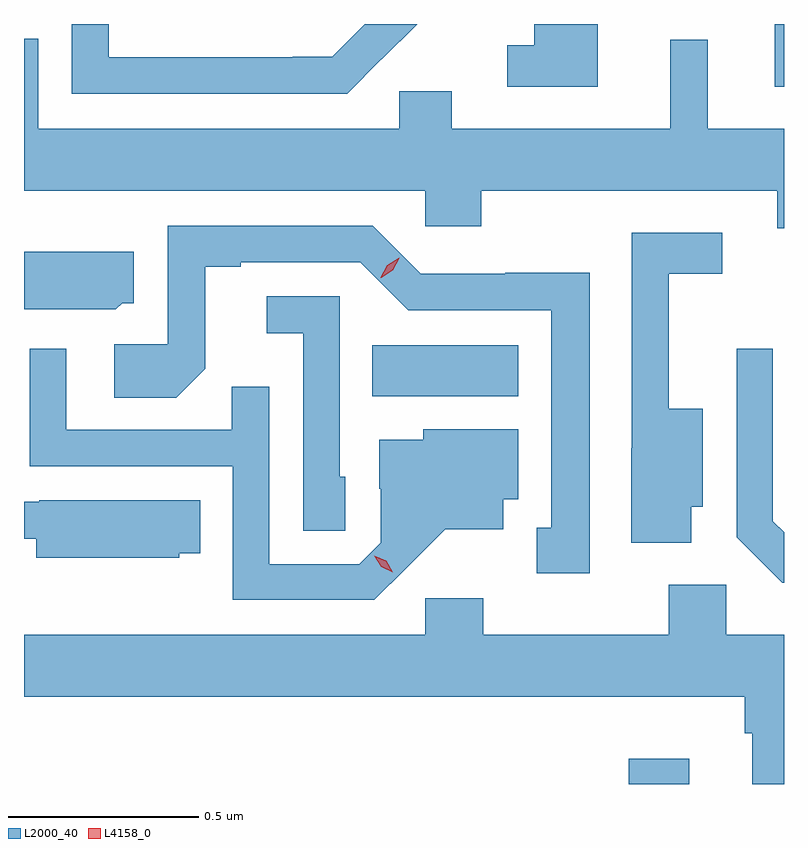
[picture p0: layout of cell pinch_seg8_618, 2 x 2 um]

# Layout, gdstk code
import gdstk
lib = gdstk.Library(unit=1e-6, precision=1e-09)
def R(c, l, rs):  # rectangles x0, y0, x1, y1
    for r in rs: c.add(gdstk.rectangle(r[:2], r[2:], *l))
def P(c, l, *ps):  # polygons
    for p in ps: c.add(gdstk.Polygon(p, *l))
L2000_40 = (2000, 40)
L4158_0 = (4158, 0)

pinch_seg8_618 = lib.new_cell('pinch_seg8_618')
R(pinch_seg8_618, L2000_40, [(122.726,1100.287,122.884,1100.353), (122.05,1101.308,122.434,1101.442), (123.11,1102.122,123.134,1102.287)])
P(pinch_seg8_618, L2000_40, [(122.075,1102.195),(122.076,1102.194),(122.169,1102.287),(122.031,1102.287),(121.945,1102.201),(121.841,1102.201),(121.841,1102.2),(121.357,1102.2),(121.357,1102.287),(121.26,1102.287),(121.26,1102.104),(121.984,1102.104)],
  [(122.644,1102.287),(122.477,1102.287),(122.477,1102.231),(122.406,1102.231),(122.406,1102.122),(122.644,1102.122)],
  [(123.134,1102.012),(122.933,1102.012),(122.933,1102.246),(122.834,1102.246),(122.834,1102.012),(122.26,1102.012),(122.26,1102.11),(122.121,1102.11),(122.121,1102.012),(121.171,1102.012),(121.171,1102.248),(121.134,1102.248),(121.134,1101.848),(122.19,1101.848),(122.19,1101.755),(122.337,1101.755),(122.337,1101.848),(123.116,1101.848),(123.116,1101.75),(123.134,1101.75)],
  [(122.623,1101.632),(122.4,1101.632),(122.4,1101.63),(122.178,1101.63),(122.052,1101.756),(121.512,1101.756),(121.512,1101.444),(121.371,1101.444),(121.371,1101.304),(121.535,1101.304),(121.611,1101.38),(121.611,1101.648),(121.705,1101.648),(121.705,1101.66),(122.019,1101.66),(122.145,1101.534),(122.522,1101.534),(122.522,1100.961),(122.483,1100.961),(122.483,1100.841),(122.623,1100.841)],
  [(122.89,1101.017),(122.92,1101.017),(122.92,1101.274),(122.831,1101.274),(122.831,1101.63),(122.971,1101.63),(122.971,1101.738),(122.733,1101.738),(122.733,1101.17),(122.732,1101.17),(122.732,1100.922),(122.89,1100.922)],
  [(121.392,1101.552),(121.423,1101.552),(121.423,1101.688),(121.135,1101.688),(121.134,1101.687),(121.134,1101.537),(121.242,1101.537),(121.242,1101.536),(121.376,1101.536)],
  [(121.98,1101.096),(121.965,1101.096),(121.965,1101.57),(121.773,1101.57),(121.773,1101.473),(121.869,1101.473),(121.869,1100.953),(121.98,1100.953)],
  [(123.134,1100.95),(123.105,1100.979),(123.105,1101.433),(123.009,1101.433),(123.009,1100.937),(123.13,1100.816),(123.134,1100.816)],
  [(122.14,1100.855),(122.243,1100.957),(122.395,1100.957),(122.395,1101.036),(122.434,1101.036),(122.434,1101.22),(122.184,1101.22),(122.184,1101.193),(122.069,1101.193),(122.069,1101.064),(122.073,1101.064),(122.073,1100.922),(122.016,1100.865),(121.779,1100.865),(121.779,1101.332),(121.681,1101.332),(121.681,1101.219),(121.245,1101.219),(121.245,1101.433),(121.149,1101.433),(121.149,1101.123),(121.683,1101.123),(121.683,1100.772),(122.056,1100.772)],
  [(121.542,1100.894),(121.598,1100.894),(121.598,1101.034),(121.174,1101.034),(121.174,1101.03),(121.134,1101.03),(121.134,1100.933),(121.166,1100.933),(121.166,1100.882),(121.542,1100.882)],
  [(123.134,1100.68),(122.982,1100.68),(122.982,1100.812),(122.831,1100.812),(122.831,1100.68),(122.342,1100.68),(122.342,1100.776),(122.19,1100.776),(122.19,1100.68),(121.134,1100.68),(121.134,1100.516),(123.031,1100.516),(123.031,1100.42),(123.05,1100.42),(123.05,1100.287),(123.134,1100.287)])
P(pinch_seg8_618, L4158_0, [(122.073,1101.619),(122.073,1101.62),(122.09,1101.652),(122.121,1101.672),(122.122,1101.672),(122.122,1101.671),(122.105,1101.639),(122.074,1101.619)],
  [(122.104,1100.844),(122.074,1100.859),(122.056,1100.888),(122.056,1100.888),(122.056,1100.888),(122.087,1100.874),(122.104,1100.844),(122.104,1100.844)])

lib.write_gds('pinch_seg8_618.gds')
